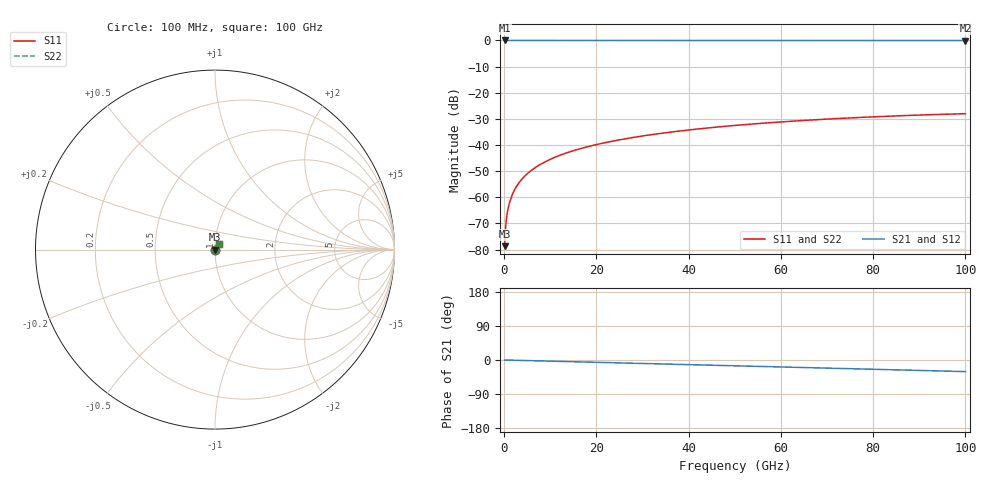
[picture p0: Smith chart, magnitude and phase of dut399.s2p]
! Touchstone file exported from HFSS 2026.1.0
!  File:  C:/ffzhzh/LocalFiles/Ansys_Project_Files/temp_train_TSV_399_1783510815_31944.aedt
!  Generated:  07:41:25 PM Jul  8, 2026
!  Design:  TSV
!  Project:  temp_train_TSV_399_1783510815_31944
! Variables:
!  h_bsmrdl = 2um
!  h_ox = 20um
!  h_rdl = 5um
!  h_sub = 56.38um
!  h_tmrdl = 5um
!  h_tsv = 56.38um
!  h_via = 3um
!  l_bsmrdl = 300um
!  l_sub = 422.52um
!  l_tmrdl = 200um
!  m_sub = 200um
!  pitch = 49.53um
!  r_tsv = 11.26um
!  s_tmrdl = 10um
!  w_bsmrdl = 18um
!  w_sub = 500um
!  w_tmrdl = 12um
!  x_tsv_center1 = 206um
!  x_tsv_center2 = 524um
!  x_tsv_center3 = 736um
!  x_tsv_center4 = 1054um
!  x_tsv_center5 = 1266um
!  x_tsv_center6 = 1584um
# GHz S MA R 50.000000
! Terminal data exported
! Port[1] = TSV1_1_T1
! Port[2] = TSV1_1_T2
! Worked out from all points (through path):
!   1000 points, 100 MHz to 100 GHz, reference 50 ohm
!   highest |S21| = 0.00 dB at 100 MHz (marker M1); lowest = 0.0 dB at 100 GHz (marker M2)
!   group delay of S21, straight-line fit = 849 fs
!   lowest |S11| = -78.7 dB at 100 MHz (marker M3), VSWR 1.00, Z = 50 + j0.00816 ohm
!   |S11| at or under -10 dB: start of sweep to end of sweep
!   |S22| runs from -78.7 to -28.0 dB; largest |S21 - S12| = 2.7e-15
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0.1  0.0001162 44.6  0.9999 -0.0  0.9999 -0.0  0.0001162 44.6
! Gamma 0 0 0 0
! Port Impedance 50 0 50 0
0.4  0.0003267 68.0  0.9999 -0.1  0.9999 -0.1  0.0003267 68.0
0.7  0.0005161 71.2  0.9998 -0.2  0.9998 -0.2  0.0005161 71.2
0.8  0.000575 71.9  0.9998 -0.3  0.9998 -0.3  0.000575 71.9
1  0.0006899 73.1  0.9998 -0.3  0.9998 -0.3  0.0006899 73.1
1.3  0.0008585 74.5  0.9998 -0.4  0.9998 -0.4  0.0008585 74.5
1.8  0.001135 76.2  0.9997 -0.6  0.9997 -0.6  0.001135 76.2
2.4  0.001461 77.4  0.9997 -0.7  0.9997 -0.7  0.001461 77.4
3.1  0.001833 78.2  0.9997 -1.0  0.9997 -1.0  0.001833 78.2
3.9  0.00225 78.9  0.9996 -1.2  0.9996 -1.2  0.00225 78.9
4.9  0.002764 79.4  0.9996 -1.5  0.9996 -1.5  0.002764 79.5
6.1  0.003374 79.9  0.9995 -1.9  0.9995 -1.9  0.003374 79.9
8.9  0.004781 80.2  0.9994 -2.7  0.9994 -2.7  0.004781 80.2
12.4  0.006513 80.0  0.9993 -3.8  0.9993 -3.8  0.006513 80.0
16.8  0.008652 79.4  0.9991 -5.1  0.9991 -5.1  0.008652 79.4
24.2  0.01218 78.0  0.9989 -7.4  0.9989 -7.4  0.01218 78.0
33.4  0.01644 75.8  0.9987 -10.2  0.9987 -10.2  0.01644 75.8
41.2  0.01992 73.8  0.9985 -12.6  0.9985 -12.6  0.01992 73.8
50.1  0.0237 71.3  0.9983 -15.3  0.9983 -15.3  0.0237 71.4
66.7  0.03014 66.6  0.9979 -20.4  0.9979 -20.4  0.03014 66.7
83.4  0.03561 61.8  0.9975 -25.5  0.9975 -25.5  0.03561 61.9
100  0.03974 56.9  0.997 -30.6  0.997 -30.6  0.03973 57.0
